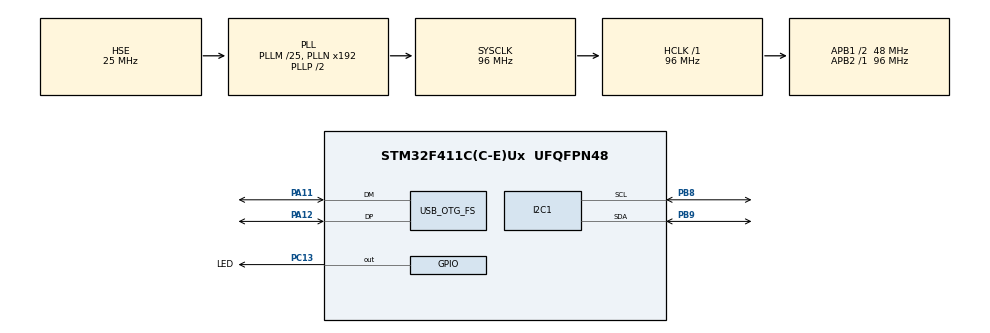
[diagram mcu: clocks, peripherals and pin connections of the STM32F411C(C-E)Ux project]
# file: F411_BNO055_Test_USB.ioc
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I2C1.I2C_Mode=I2C_Fast
Mcu.Family=STM32F4
Mcu.Name=STM32F411C(C-E)Ux
Mcu.Package=UFQFPN48
NVIC.OTG_FS_IRQn=true\:0\:0\:false\:false\:true\:false\:true\:true
NVIC.PriorityGroup=NVIC_PRIORITYGROUP_4
NVIC.TIM4_IRQn=true\:0\:0\:false\:false\:true\:true\:true\:true
PA11.Mode=Device_Only
PA11.Signal=USB_OTG_FS_DM
PA12.Mode=Device_Only
PA12.Signal=USB_OTG_FS_DP
PA13.Mode=Serial_Wire
PA13.Signal=SYS_JTMS-SWDIO
PA14.Mode=Serial_Wire
PA14.Signal=SYS_JTCK-SWCLK
PB8.Mode=I2C
PB8.Signal=I2C1_SCL
PB9.Mode=I2C
PB9.Signal=I2C1_SDA
PC13-ANTI_TAMP.GPIO_Label=LED
PC13-ANTI_TAMP.Signal=GPIO_Output
PC14-OSC32_IN.Mode=LSE-External-Oscillator
PC14-OSC32_IN.Signal=RCC_OSC32_IN
PC15-OSC32_OUT.Mode=LSE-External-Oscillator
PC15-OSC32_OUT.Signal=RCC_OSC32_OUT
PH0\ -\ OSC_IN.Mode=HSE-External-Oscillator
PH0\ -\ OSC_IN.Signal=RCC_OSC_IN
PH1\ -\ OSC_OUT.Mode=HSE-External-Oscillator
PH1\ -\ OSC_OUT.Signal=RCC_OSC_OUT
ProjectManager.HeapSize=0x600
ProjectManager.StackSize=0x600
ProjectManager.TargetToolchain=STM32CubeIDE
RCC.48MHZClocksFreq_Value=48000000
RCC.AHBFreq_Value=96000000
RCC.APB1CLKDivider=RCC_HCLK_DIV2
RCC.APB1Freq_Value=48000000
RCC.APB1TimFreq_Value=96000000
RCC.APB2Freq_Value=96000000
RCC.APB2TimFreq_Value=96000000
RCC.CortexFreq_Value=96000000
RCC.HCLKFreq_Value=96000000
RCC.HSE_VALUE=25000000
RCC.HSI_VALUE=16000000
RCC.PLLM=25
RCC.SYSCLKFreq_VALUE=96000000
RCC.SYSCLKSource=RCC_SYSCLKSOURCE_PLLCLK
RCC.VCOOutputFreq_Value=192000000
TIM4.AutoReloadPreload=TIM_AUTORELOAD_PRELOAD_ENABLE
TIM4.ClockDivision=TIM_CLOCKDIVISION_DIV1
TIM4.Period=1999
TIM4.Prescaler=959
USB_DEVICE.CLASS_NAME_FS=CDC
USB_DEVICE.VirtualMode=Cdc
USB_DEVICE.VirtualModeFS=Cdc_FS
USB_OTG_FS.VirtualMode=Device_Only
VP_TIM4_VS_ClockSourceINT.Mode=Internal
VP_USB_DEVICE_VS_USB_DEVICE_CDC_FS.Mode=CDC_FS
board=custom

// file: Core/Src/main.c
/* USER CODE BEGIN Header */
/**
  ******************************************************************************
  * @file           : main.c
  * @brief          : Main program body
  ******************************************************************************
  * @attention
  *
  * Copyright (c) 2023 STMicroelectronics.
  * All rights reserved.
  *
  * This software is licensed under terms that can be found in the LICENSE file
  * in the root directory of this software component.
  * If no LICENSE file comes with this software, it is provided AS-IS.
  *
  ******************************************************************************
  */
/* USER CODE END Header */
#include "main.h"
#include "i2c.h"
#include "tim.h"
#include "usb_device.h"
#include "gpio.h"

/* USER CODE BEGIN Includes */
#include <stdio.h>
#include "bno055_stm32.h"

/* USER CODE END Includes */

/* USER CODE BEGIN PV */
volatile uint8_t IMU_DTRDY = 0;

bno055_vector_t v_euler;

/* USER CODE END PV */

void SystemClock_Config(void);
/* USER CODE BEGIN PFP */
extern uint8_t CDC_Transmit_FS(uint8_t* Buf, uint16_t Len);
/* USER CODE END PFP */

int main(void)
{

  /* MCU Configuration--------------------------------------------------------*/

  /* Reset of all peripherals, Initializes the Flash interface and the Systick. */
  HAL_Init();

  /* Configure the system clock */
  SystemClock_Config();

  /* Initialize all configured peripherals */
  MX_GPIO_Init();
  MX_I2C1_Init();
  MX_TIM4_Init();
  MX_USB_DEVICE_Init();
  /* USER CODE BEGIN 2 */

  HAL_TIM_Base_Start_IT(&htim4);

  HAL_Delay(1000);

  bno055_assignI2C(&hi2c1);
  bno055_setup();
  bno055_setOperationModeNDOF();

  /* USER CODE END 2 */

  /* Infinite loop */
  while (1)
  {

    /* USER CODE BEGIN 3 */

	if (IMU_DTRDY) {
		v_euler = bno055_getVectorEuler();
		bno055_vector_t v_quat = bno055_getVectorQuaternion();
		bno055_vector_t v_acc = bno055_getVectorAccelerometer();
		bno055_vector_t v_gyro = bno055_getVectorGyroscope();

		printf("%.2f*%.2f*%.2f*%.2f*%.2f*%.2f*%.2f*%.2f*%.2f*%.2f*%.2f*%.2f*%.2f\n", v_euler.x, v_euler.y, v_euler.z,
				v_quat.w, v_quat.x, v_quat.y, v_quat.z, v_acc.x, v_acc.y, v_acc.z, v_gyro.x, v_gyro.y, v_gyro.z);
		IMU_DTRDY = 0;
	}
  }
  /* USER CODE END 3 */
}

void SystemClock_Config(void)
{
  RCC_OscInitTypeDef RCC_OscInitStruct = {0};
  RCC_ClkInitTypeDef RCC_ClkInitStruct = {0};

  /** Configure the main internal regulator output voltage
  */
  __HAL_RCC_PWR_CLK_ENABLE();
  __HAL_PWR_VOLTAGESCALING_CONFIG(PWR_REGULATOR_VOLTAGE_SCALE1);

  /** Initializes the RCC Oscillators according to the specified parameters
  * in the RCC_OscInitTypeDef structure.
  */
  RCC_OscInitStruct.OscillatorType = RCC_OSCILLATORTYPE_HSE;
  RCC_OscInitStruct.HSEState = RCC_HSE_ON;
  RCC_OscInitStruct.PLL.PLLState = RCC_PLL_ON;
  RCC_OscInitStruct.PLL.PLLSource = RCC_PLLSOURCE_HSE;
  RCC_OscInitStruct.PLL.PLLM = 25;
  RCC_OscInitStruct.PLL.PLLN = 192;
  RCC_OscInitStruct.PLL.PLLP = RCC_PLLP_DIV2;
  RCC_OscInitStruct.PLL.PLLQ = 4;
  if (HAL_RCC_OscConfig(&RCC_OscInitStruct) != HAL_OK)
  {
    Error_Handler();
  }

  /** Initializes the CPU, AHB and APB buses clocks
  */
  RCC_ClkInitStruct.ClockType = RCC_CLOCKTYPE_HCLK|RCC_CLOCKTYPE_SYSCLK
                              |RCC_CLOCKTYPE_PCLK1|RCC_CLOCKTYPE_PCLK2;
  RCC_ClkInitStruct.SYSCLKSource = RCC_SYSCLKSOURCE_PLLCLK;
  RCC_ClkInitStruct.AHBCLKDivider = RCC_SYSCLK_DIV1;
  RCC_ClkInitStruct.APB1CLKDivider = RCC_HCLK_DIV2;
  RCC_ClkInitStruct.APB2CLKDivider = RCC_HCLK_DIV1;

  if (HAL_RCC_ClockConfig(&RCC_ClkInitStruct, FLASH_LATENCY_3) != HAL_OK)
  {
    Error_Handler();
  }
}

/* USER CODE BEGIN 4 */

int _write(int file, char *ptr, int len) {
    static uint8_t rc = USBD_OK;

    do {
        rc = CDC_Transmit_FS( (uint8_t*) ptr, len);
    } while (USBD_BUSY == rc);

    if (USBD_FAIL == rc) {
        /// NOTE: Should never reach here.
        /// TODO: Handle this error.
        return 0;
    }
    return len;
}

void HAL_TIM_PeriodElapsedCallback(TIM_HandleTypeDef *htim)
{

	// 100 ms
  if (htim == &htim4 ){

	  IMU_DTRDY = 1;
	  HAL_GPIO_TogglePin(LED_GPIO_Port, LED_Pin);

  }

}

/* USER CODE END 4 */

void Error_Handler(void)
{
  __disable_irq();
  while (1)
  {
  }
}
